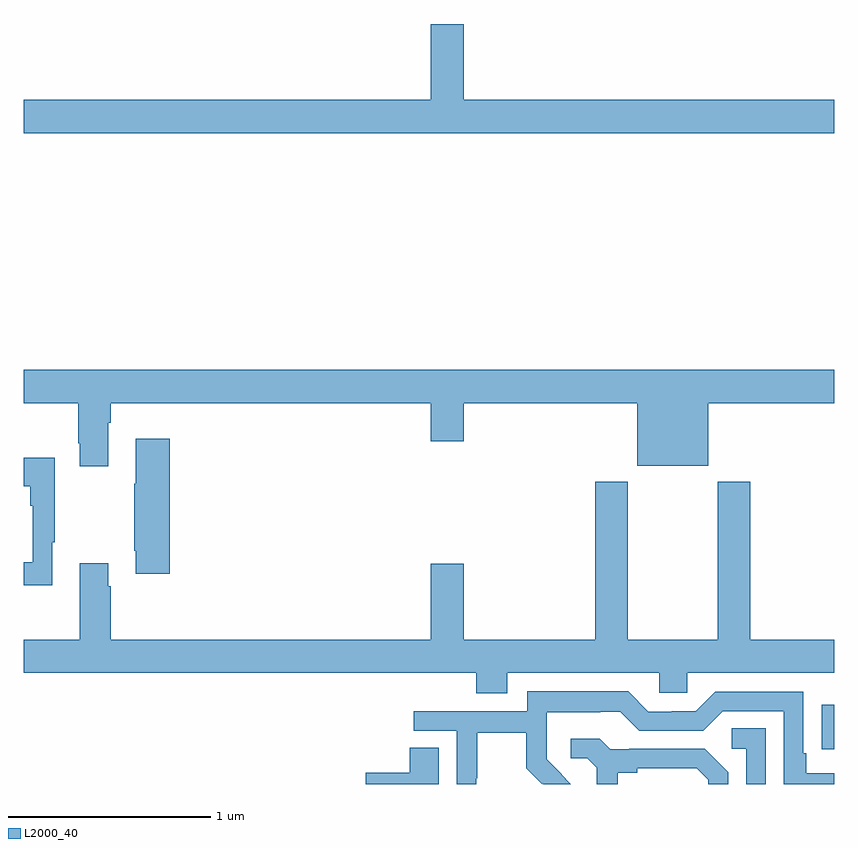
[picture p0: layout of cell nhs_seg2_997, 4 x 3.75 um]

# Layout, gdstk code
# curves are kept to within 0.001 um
import gdstk
lib = gdstk.Library(unit=1e-6, precision=1e-09)
def R(c, l, rs):  # rectangles x0, y0, x1, y1
    for r in rs: c.add(gdstk.rectangle(r[:2], r[2:], *l))
def P(c, l, *ps):  # polygons
    for p in ps: c.add(gdstk.Polygon(p, *l))
L2000_40 = (2000, 40)

nhs_seg2_997 = lib.new_cell('nhs_seg2_997')
R(nhs_seg2_997, L2000_40, [(166.939,601.972,167,602.191)])
P(nhs_seg2_997, L2000_40, [(167,605.176),(165.172,605.176),(165.172,605.551),(165.008,605.551),(165.008,605.176),(163,605.176),(163,605.012),(167,605.012)],
  [(163.417,603.584),(163.43,603.584),(163.43,603.68),(165.008,603.68),(165.008,603.492),(165.172,603.492),(165.172,603.68),(166.028,603.68),(166.028,603.371),(166.378,603.371),(166.378,603.68),(167,603.68),(167,603.844),(163,603.844),(163,603.68),(163.27,603.68),(163.27,603.481),(163.277,603.481),(163.277,603.369),(163.417,603.369)],
  [(163.721,603.505),(163.553,603.505),(163.553,603.281),(163.546,603.281),(163.546,602.95),(163.553,602.95),(163.553,602.838),(163.721,602.838)],
  [(163.141,602.993),(163.153,602.993),(163.153,603.409),(163,603.409),(163,603.269),(163.032,603.269),(163.032,603.173),(163.044,603.173),(163.044,602.894),(163,602.894),(163,602.781),(163.141,602.781)],
  [(165.385,602.348),(166.137,602.348),(166.137,602.25),(166.275,602.25),(166.275,602.348),(167,602.348),(167,602.512),(166.586,602.512),(166.586,603.292),(166.426,603.292),(166.426,602.512),(165.981,602.512),(165.981,603.292),(165.821,603.292),(165.821,602.512),(165.172,602.512),(165.172,602.887),(165.008,602.887),(165.008,602.512),(163.43,602.512),(163.43,602.777),(163.417,602.777),(163.417,602.89),(163.277,602.89),(163.277,602.512),(163,602.512),(163,602.348),(165.233,602.348),(165.233,602.249),(165.385,602.249)],
  [(165.234,601.828),(165.237,601.828),(165.237,602.052),(165.481,602.052),(165.481,601.877),(165.558,601.8),(165.561,601.803),(165.564,601.8),(165.7,601.8),(165.58,601.922),(165.58,602.019),(165.582,602.019),(165.582,602.153),(165.845,602.153),(165.845,602.157),(165.945,602.157),(166.038,602.064),(166.353,602.064),(166.449,602.16),(166.752,602.16),(166.752,601.8),(167,601.8),(167,601.854),(166.861,601.854),(166.861,601.951),(166.848,601.951),(166.848,602.256),(166.413,602.256),(166.317,602.16),(166.199,602.16),(166.199,602.157),(166.083,602.157),(165.983,602.257),(165.486,602.257),(165.486,602.16),(164.925,602.16),(164.925,602.064),(165.138,602.064),(165.138,601.8),(165.234,601.8)],
  [(166.662,602.075),(166.494,602.075),(166.494,601.974),(166.566,601.974),(166.566,601.8),(166.662,601.8)],
  [(165.931,601.856),(166.027,601.856),(166.027,601.878),(166.322,601.878),(166.379,601.821),(166.379,601.8),(166.476,601.8),(166.476,601.858),(166.36,601.974),(165.988,601.974),(165.988,601.971),(165.894,601.971),(165.842,602.023),(165.699,602.023),(165.699,601.926),(165.78,601.926),(165.827,601.879),(165.827,601.8),(165.931,601.8)],
  [(165.049,601.979),(164.906,601.979),(164.906,601.856),(164.688,601.856),(164.688,601.8),(165.049,601.8)])

lib.write_gds('nhs_seg2_997.gds')
